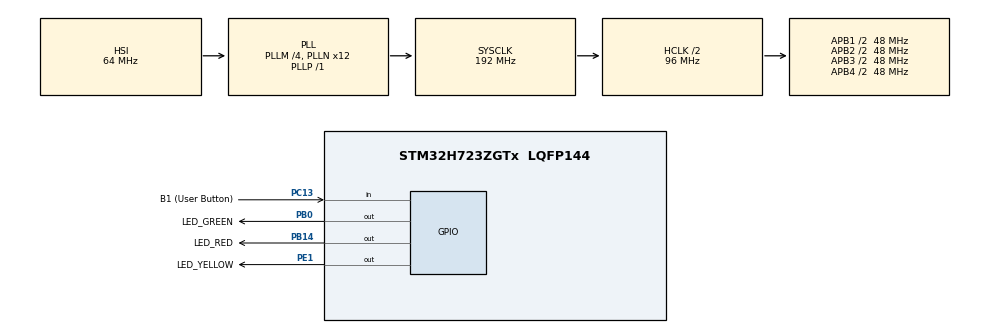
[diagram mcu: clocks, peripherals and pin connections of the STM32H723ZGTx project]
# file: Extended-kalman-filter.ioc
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CORTEX_M7.default_mode_Activation=1
Mcu.Family=STM32H7
Mcu.Name=STM32H723ZGTx
Mcu.Package=LQFP144
NVIC.PriorityGroup=NVIC_PRIORITYGROUP_4
NVIC.TIM2_IRQn=true\:0\:0\:false\:false\:true\:true\:true\:true
PA13(JTMS/SWDIO).GPIO_Label=SWDIO
PA13(JTMS/SWDIO).Signal=DEBUG_JTMS-SWDIO
PA14(JTCK/SWCLK).GPIO_Label=SWCLK
PA14(JTCK/SWCLK).Signal=DEBUG_JTCK-SWCLK
PB0.GPIO_Label=LED_GREEN
PB0.Signal=GPIO_Output
PB14.GPIO_Label=LED_RED
PB14.Signal=GPIO_Output
PC13.GPIO_Label=B1 (User Button)
PC13.Signal=GPIO_Input
PC14-OSC32_IN.Signal=RCC_OSC32_IN
PC15-OSC32_OUT.Signal=RCC_OSC32_OUT
PD8.GPIO_Label=STLK_VCP_RX
PD8.Signal=USART3_TX
PD9.GPIO_Label=STLK_VCP_TX
PD9.Signal=USART3_RX
PE1.GPIO_Label=LED_YELLOW
PE1.Signal=GPIO_Output
ProjectManager.HeapSize=0x200
ProjectManager.StackSize=0x400
ProjectManager.TargetToolchain=STM32CubeIDE
RCC.ADCFreq_Value=608000000
RCC.APB1Freq_Value=48000000
RCC.APB2Freq_Value=48000000
RCC.APB3Freq_Value=48000000
RCC.APB4Freq_Value=48000000
RCC.CortexFreq_Value=192000000
RCC.D1PPRE=RCC_APB3_DIV2
RCC.D2PPRE1=RCC_APB1_DIV2
RCC.D2PPRE2=RCC_APB2_DIV2
RCC.D3PPRE=RCC_APB4_DIV2
RCC.DIVM1=4
RCC.DIVM2=1
RCC.DIVN1=12
RCC.DIVN2=19
RCC.DIVP1=1
RCC.DIVQ1=4
RCC.HCLKFreq_Value=96000000
RCC.HPRE=RCC_HCLK_DIV2
RCC.HSE_VALUE=8000000
RCC.PLLFRACN=0
RCC.SYSCLKFreq_VALUE=192000000
RCC.SYSCLKSource=RCC_SYSCLKSOURCE_PLLCLK
RCC.USBCLockSelection=RCC_USBCLKSOURCE_HSI48
RCC.USBFreq_Value=48000000
TIM2.Period=999
TIM2.Prescaler=959
VP_MEMORYMAP_VS_MEMORYMAP.Mode=CurAppReg
VP_TIM2_VS_ClockSourceINT.Mode=Internal
board=NUCLEO-H723ZG

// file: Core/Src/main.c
/* USER CODE BEGIN Header */
/**
  ******************************************************************************
  * @file           : main.c
  * @brief          : Main program body
  ******************************************************************************
  * @attention
  *
  * Copyright (c) 2025 STMicroelectronics.
  * All rights reserved.
  *
  * This software is licensed under terms that can be found in the LICENSE file
  * in the root directory of this software component.
  * If no LICENSE file comes with this software, it is provided AS-IS.
  *
  ******************************************************************************
  */
/* USER CODE END Header */
#include "main.h"

/* USER CODE BEGIN Includes */
#include "Extended-KF.h"
#include "Pendulum.h"
/* USER CODE END Includes */

TIM_HandleTypeDef htim2;

/* USER CODE BEGIN PV */

// EKF buffers

float thetap = (3.0f*PI/4.0f);       // Initial angle (rad)
float theta_dotp = 0.0f;   // Initial angular velocity (rad/s)
float u_data[1];
arm_matrix_instance_f32 u;
float x_buffer[2] ={ -3.0f*PI/4.0f,0 };  // Initial state guess from pendulum sim

float R_buffer[1] = {0};
float Fx_buffer[4] = {0};
float Hx_buffer[2] = {0};
float K_buffer[2] = {0};
float z_data[1];
arm_matrix_instance_f32 z;
uint16_t dim_z = 1 ;
uint16_t dim_x = 2 ;
float theta_predicted;
/* USER CODE END PV */

void SystemClock_Config(void);
static void MPU_Config(void);
static void MX_GPIO_Init(void);
static void MX_TIM2_Init(void);

/* USER CODE BEGIN 0 */

// EKF handle
EKF_HandleTypeDef* ekf;

/* Pendulum nonlinear state transition function: x_k+1 = f(x_k, u, dt) */
void pendulum_f( arm_matrix_instance_f32* x,  arm_matrix_instance_f32* u, float dt, arm_matrix_instance_f32* x_pred) {
    const float dt_local = dt;
    const float m = 1.0f;

    float theta = x->pData[0];
    float theta_dot = x->pData[1];
    float torque = u->pData[0];

    // Euler integration for state transition
    float theta_new = theta + theta_dot * dt_local;
    float theta_dot_new = theta_dot + (torque / (m * L * L) - (G / L) * sinf(theta)) * dt_local;

    x_pred->pData[0] = theta_new;
    x_pred->pData[1] = theta_dot_new;
}

void pendulum_F_jacobian( arm_matrix_instance_f32* x,  arm_matrix_instance_f32* u, float dt, arm_matrix_instance_f32* F) {

    float theta = x->pData[0];

    // Zero all elements first
    for (uint16_t i = 0; i < F->numRows * F->numCols; i++) {
        F->pData[i] = 0.0f;
    }

    F->pData[0] = 1.0f;          // ∂f1/∂θ
    F->pData[1] = dt;            // ∂f1/∂θ_dot
    F->pData[2] = - (G / L) * cosf(theta) * dt; // ∂f2/∂θ
    F->pData[3] = 1.0f;          // ∂f2/∂θ_dot
}

void pendulum_h( arm_matrix_instance_f32* x, arm_matrix_instance_f32* z_pred) {
    // Measurement is angle only
    z_pred->pData[0] = x->pData[0];
}

void pendulum_H_jacobian( arm_matrix_instance_f32* x,  arm_matrix_instance_f32* u, float dt, arm_matrix_instance_f32* H) {
    H->pData[0] = 1.0f;  // ∂h/∂θ
    H->pData[1] = 0.0f;  // ∂h/∂θ_dot
}
/* USER CODE END 0 */

int main(void)
{

  /* MPU Configuration--------------------------------------------------------*/
  MPU_Config();

  /* MCU Configuration--------------------------------------------------------*/

  /* Reset of all peripherals, Initializes the Flash interface and the Systick. */
  HAL_Init();

  /* Configure the system clock */
  SystemClock_Config();

  /* Initialize all configured peripherals */
  MX_GPIO_Init();
  MX_TIM2_Init();
  /* USER CODE BEGIN 2 */

  // Covariances
  float P_f32[4] = {
		  0.00000001f,  0.0f,
		  0.0f, 0.00000001f,
  };
      float Q_f32[4] = {
          0, 0,
		  0, 0.002,
      };  // Process noise covariance
  R_buffer[0] = 0.001f; // Measurement noise covariance

  EKF_Init(ekf,
           dim_x,
           dim_z,
           x_buffer,
           P_f32,
           Q_f32,
           R_buffer,
           Fx_buffer,
           Hx_buffer,
           K_buffer,
           pendulum_f,
           pendulum_h,
           pendulum_F_jacobian,
           pendulum_H_jacobian);
  arm_mat_init_f32(&u, 1, 1, u_data);
  arm_mat_init_f32(&z, 1, 1, z_data);
  HAL_Delay(2000);
  HAL_TIM_Base_Start_IT(&htim2);

  /* USER CODE END 2 */

  /* Infinite loop */
  while (1)
  {

  }
}

void SystemClock_Config(void)
{
  RCC_OscInitTypeDef RCC_OscInitStruct = {0};
  RCC_ClkInitTypeDef RCC_ClkInitStruct = {0};

  /** Supply configuration update enable
  */
  HAL_PWREx_ConfigSupply(PWR_LDO_SUPPLY);

  /** Configure the main internal regulator output voltage
  */
  __HAL_PWR_VOLTAGESCALING_CONFIG(PWR_REGULATOR_VOLTAGE_SCALE2);

  while(!__HAL_PWR_GET_FLAG(PWR_FLAG_VOSRDY)) {}

  /** Initializes the RCC Oscillators according to the specified parameters
  * in the RCC_OscInitTypeDef structure.
  */
  RCC_OscInitStruct.OscillatorType = RCC_OSCILLATORTYPE_HSI;
  RCC_OscInitStruct.HSIState = RCC_HSI_DIV1;
  RCC_OscInitStruct.HSICalibrationValue = 64;
  RCC_OscInitStruct.PLL.PLLState = RCC_PLL_ON;
  RCC_OscInitStruct.PLL.PLLSource = RCC_PLLSOURCE_HSI;
  RCC_OscInitStruct.PLL.PLLM = 4;
  RCC_OscInitStruct.PLL.PLLN = 12;
  RCC_OscInitStruct.PLL.PLLP = 1;
  RCC_OscInitStruct.PLL.PLLQ = 4;
  RCC_OscInitStruct.PLL.PLLR = 2;
  RCC_OscInitStruct.PLL.PLLRGE = RCC_PLL1VCIRANGE_3;
  RCC_OscInitStruct.PLL.PLLVCOSEL = RCC_PLL1VCOWIDE;
  RCC_OscInitStruct.PLL.PLLFRACN = 0;
  if (HAL_RCC_OscConfig(&RCC_OscInitStruct) != HAL_OK)
  {
    Error_Handler();
  }

  /** Initializes the CPU, AHB and APB buses clocks
  */
  RCC_ClkInitStruct.ClockType = RCC_CLOCKTYPE_HCLK|RCC_CLOCKTYPE_SYSCLK
                              |RCC_CLOCKTYPE_PCLK1|RCC_CLOCKTYPE_PCLK2
                              |RCC_CLOCKTYPE_D3PCLK1|RCC_CLOCKTYPE_D1PCLK1;
  RCC_ClkInitStruct.SYSCLKSource = RCC_SYSCLKSOURCE_PLLCLK;
  RCC_ClkInitStruct.SYSCLKDivider = RCC_SYSCLK_DIV1;
  RCC_ClkInitStruct.AHBCLKDivider = RCC_HCLK_DIV2;
  RCC_ClkInitStruct.APB3CLKDivider = RCC_APB3_DIV2;
  RCC_ClkInitStruct.APB1CLKDivider = RCC_APB1_DIV2;
  RCC_ClkInitStruct.APB2CLKDivider = RCC_APB2_DIV2;
  RCC_ClkInitStruct.APB4CLKDivider = RCC_APB4_DIV2;

  if (HAL_RCC_ClockConfig(&RCC_ClkInitStruct, FLASH_LATENCY_1) != HAL_OK)
  {
    Error_Handler();
  }
}

static void MX_TIM2_Init(void)
{

  TIM_ClockConfigTypeDef sClockSourceConfig = {0};
  TIM_MasterConfigTypeDef sMasterConfig = {0};

  htim2.Instance = TIM2;
  htim2.Init.Prescaler = 959;
  htim2.Init.CounterMode = TIM_COUNTERMODE_UP;
  htim2.Init.Period = 999;
  htim2.Init.ClockDivision = TIM_CLOCKDIVISION_DIV1;
  htim2.Init.AutoReloadPreload = TIM_AUTORELOAD_PRELOAD_DISABLE;
  if (HAL_TIM_Base_Init(&htim2) != HAL_OK)
  {
    Error_Handler();
  }
  sClockSourceConfig.ClockSource = TIM_CLOCKSOURCE_INTERNAL;
  if (HAL_TIM_ConfigClockSource(&htim2, &sClockSourceConfig) != HAL_OK)
  {
    Error_Handler();
  }
  sMasterConfig.MasterOutputTrigger = TIM_TRGO_RESET;
  sMasterConfig.MasterSlaveMode = TIM_MASTERSLAVEMODE_DISABLE;
  if (HAL_TIMEx_MasterConfigSynchronization(&htim2, &sMasterConfig) != HAL_OK)
  {
    Error_Handler();
  }

}

static void MX_GPIO_Init(void)
{
  GPIO_InitTypeDef GPIO_InitStruct = {0};

  /* GPIO Ports Clock Enable */
  __HAL_RCC_GPIOC_CLK_ENABLE();
  __HAL_RCC_GPIOB_CLK_ENABLE();
  __HAL_RCC_GPIOD_CLK_ENABLE();
  __HAL_RCC_GPIOA_CLK_ENABLE();
  __HAL_RCC_GPIOE_CLK_ENABLE();

  /*Configure GPIO pin Output Level */
  HAL_GPIO_WritePin(GPIOB, LED_GREEN_Pin|LED_RED_Pin, GPIO_PIN_RESET);

  /*Configure GPIO pin Output Level */
  HAL_GPIO_WritePin(LED_YELLOW_GPIO_Port, LED_YELLOW_Pin, GPIO_PIN_RESET);

  /*Configure GPIO pin : B1_Pin */
  GPIO_InitStruct.Pin = B1_Pin;
  GPIO_InitStruct.Mode = GPIO_MODE_INPUT;
  GPIO_InitStruct.Pull = GPIO_NOPULL;
  HAL_GPIO_Init(B1_GPIO_Port, &GPIO_InitStruct);

  /*Configure GPIO pins : LED_GREEN_Pin LED_RED_Pin */
  GPIO_InitStruct.Pin = LED_GREEN_Pin|LED_RED_Pin;
  GPIO_InitStruct.Mode = GPIO_MODE_OUTPUT_PP;
  GPIO_InitStruct.Pull = GPIO_NOPULL;
  GPIO_InitStruct.Speed = GPIO_SPEED_FREQ_LOW;
  HAL_GPIO_Init(GPIOB, &GPIO_InitStruct);

  /*Configure GPIO pins : STLK_VCP_RX_Pin STLK_VCP_TX_Pin */
  GPIO_InitStruct.Pin = STLK_VCP_RX_Pin|STLK_VCP_TX_Pin;
  GPIO_InitStruct.Mode = GPIO_MODE_AF_PP;
  GPIO_InitStruct.Pull = GPIO_NOPULL;
  GPIO_InitStruct.Speed = GPIO_SPEED_FREQ_LOW;
  GPIO_InitStruct.Alternate = GPIO_AF7_USART3;
  HAL_GPIO_Init(GPIOD, &GPIO_InitStruct);

  /*Configure GPIO pin : LED_YELLOW_Pin */
  GPIO_InitStruct.Pin = LED_YELLOW_Pin;
  GPIO_InitStruct.Mode = GPIO_MODE_OUTPUT_PP;
  GPIO_InitStruct.Pull = GPIO_NOPULL;
  GPIO_InitStruct.Speed = GPIO_SPEED_FREQ_LOW;
  HAL_GPIO_Init(LED_YELLOW_GPIO_Port, &GPIO_InitStruct);

}

/* USER CODE BEGIN 4 */
void HAL_TIM_PeriodElapsedCallback(TIM_HandleTypeDef *htim) {

    	float dt = 0.01;
    	float measurement_noise = 0.1;
        // Advance the pendulum state with noise
        update_pendulum();

        z_data[0] = thetap + generate_white_noise(measurement_noise);

        // EKF predict and update
        EKF_Step(ekf, &u, &z, dt);

}
/* USER CODE END 4 */

 /* MPU Configuration */

void MPU_Config(void)
{
  MPU_Region_InitTypeDef MPU_InitStruct = {0};

  /* Disables the MPU */
  HAL_MPU_Disable();

  /** Initializes and configures the Region and the memory to be protected
  */
  MPU_InitStruct.Enable = MPU_REGION_ENABLE;
  MPU_InitStruct.Number = MPU_REGION_NUMBER0;
  MPU_InitStruct.BaseAddress = 0x0;
  MPU_InitStruct.Size = MPU_REGION_SIZE_4GB;
  MPU_InitStruct.SubRegionDisable = 0x87;
  MPU_InitStruct.TypeExtField = MPU_TEX_LEVEL0;
  MPU_InitStruct.AccessPermission = MPU_REGION_NO_ACCESS;
  MPU_InitStruct.DisableExec = MPU_INSTRUCTION_ACCESS_DISABLE;
  MPU_InitStruct.IsShareable = MPU_ACCESS_SHAREABLE;
  MPU_InitStruct.IsCacheable = MPU_ACCESS_NOT_CACHEABLE;
  MPU_InitStruct.IsBufferable = MPU_ACCESS_NOT_BUFFERABLE;

  HAL_MPU_ConfigRegion(&MPU_InitStruct);
  /* Enables the MPU */
  HAL_MPU_Enable(MPU_PRIVILEGED_DEFAULT);

}

void Error_Handler(void)
{
  __disable_irq();
  while (1)
  {
  }
}
